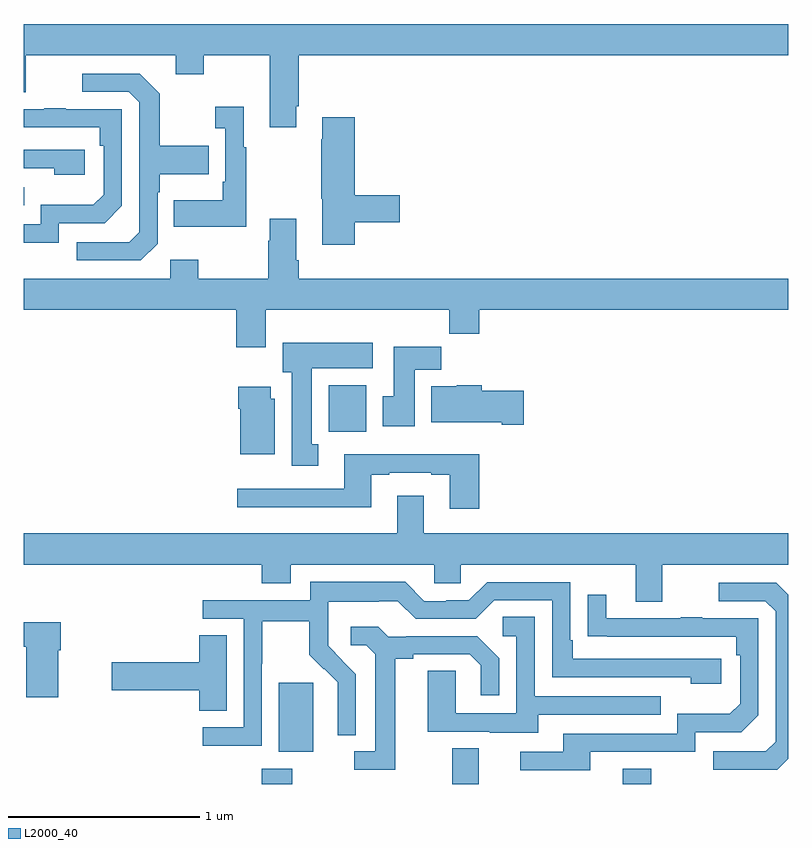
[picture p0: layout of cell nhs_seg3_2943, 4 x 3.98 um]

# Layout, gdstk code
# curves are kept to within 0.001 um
import gdstk
lib = gdstk.Library(unit=1e-6, precision=1e-09)
def R(c, l, rs):  # rectangles x0, y0, x1, y1
    for r in rs: c.add(gdstk.rectangle(r[:2], r[2:], *l))
def P(c, l, *ps):  # polygons
    for p in ps: c.add(gdstk.Polygon(p, *l))
L2000_40 = (2000, 40)

nhs_seg3_2943 = lib.new_cell('nhs_seg3_2943')
R(nhs_seg3_2943, L2000_40, [(264.245,734.4,264.405,734.479), (265.241,734.4,265.381,734.588), (266.135,734.4,266.283,734.479), (264.335,734.57,264.514,734.931), (264.596,736.244,264.793,736.486), (263,737.427,263.003,737.523)])
P(nhs_seg3_2943, L2000_40, [(264.427,737.947),(264.44,737.947),(264.44,738.212),(267,738.212),(267,738.376),(263,738.376),(263,738.018),(263.011,738.018),(263.011,738.212),(263.795,738.212),(263.795,738.113),(263.943,738.113),(263.943,738.212),(264.287,738.212),(264.287,737.835),(264.427,737.835)],
  [(263.7,737.226),(263.7,737.495),(263.713,737.495),(263.713,737.591),(263.969,737.591),(263.969,737.739),(263.713,737.739),(263.713,738.011),(263.607,738.117),(263.307,738.117),(263.307,738.021),(263.55,738.021),(263.604,737.967),(263.604,737.286),(263.553,737.235),(263.277,737.235),(263.277,737.139),(263.613,737.139)],
  [(264.163,737.731),(264.151,737.731),(264.151,737.944),(264.003,737.944),(264.003,737.831),(264.054,737.831),(264.054,737.551),(264.042,737.551),(264.042,737.455),(263.785,737.455),(263.785,737.315),(264.163,737.315)],
  [(263.184,737.334),(263.424,737.334),(263.514,737.424),(263.514,737.931),(263.219,737.931),(263.219,737.936),(263.107,737.936),(263.107,737.931),(263,737.931),(263,737.835),(263.398,737.835),(263.398,737.738),(263.418,737.738),(263.418,737.484),(263.365,737.431),(263.088,737.431),(263.088,737.328),(263,737.328),(263,737.232),(263.184,737.232)],
  [(264.731,737.338),(264.967,737.338),(264.967,737.48),(264.731,737.48),(264.731,737.887),(264.563,737.887),(264.563,737.774),(264.556,737.774),(264.556,737.463),(264.563,737.463),(264.563,737.22),(264.731,737.22)],
  [(263.32,737.718),(263,737.718),(263,737.622),(263.159,737.622),(263.159,737.588),(263.32,737.588)],
  [(264.265,736.88),(265.225,736.88),(265.225,736.756),(265.382,736.756),(265.382,736.88),(267,736.88),(267,737.044),(264.44,737.044),(264.44,737.14),(264.427,737.14),(264.427,737.356),(264.287,737.356),(264.287,737.243),(264.28,737.243),(264.28,737.044),(263.913,737.044),(263.913,737.143),(263.766,737.143),(263.766,737.044),(263,737.044),(263,736.88),(264.113,736.88),(264.113,736.686),(264.265,736.686)],
  [(264.541,736.178),(264.508,736.178),(264.508,736.574),(264.826,736.574),(264.826,736.708),(264.356,736.708),(264.356,736.554),(264.401,736.554),(264.401,736.065),(264.541,736.065)],
  [(265.045,736.568),(265.184,736.568),(265.184,736.687),(264.935,736.687),(264.935,736.428),(264.878,736.428),(264.878,736.272),(265.045,736.272)],
  [(265.615,736.458),(265.397,736.458),(265.397,736.486),(265.266,736.486),(265.266,736.48),(265.133,736.48),(265.133,736.292),(265.502,736.292),(265.502,736.28),(265.615,736.28)],
  [(264.313,736.416),(264.292,736.416),(264.292,736.477),(264.122,736.477),(264.122,736.364),(264.134,736.364),(264.134,736.124),(264.313,736.124)],
  [(265.382,736.126),(264.677,736.126),(264.677,735.945),(264.117,735.945),(264.117,735.848),(264.817,735.848),(264.817,736.017),(264.913,736.017),(264.913,736.029),(265.133,736.029),(265.133,736.017),(265.229,736.017),(265.229,735.84),(265.382,735.84)],
  [(266.341,735.548),(267,735.548),(267,735.712),(265.093,735.712),(265.093,735.907),(264.953,735.907),(264.953,735.712),(263,735.712),(263,735.548),(264.245,735.548),(264.245,735.449),(264.397,735.449),(264.397,735.548),(265.149,735.548),(265.149,735.45),(265.287,735.45),(265.287,735.548),(266.201,735.548),(266.201,735.354),(266.341,735.354)],
  [(264.246,735.028),(264.249,735.028),(264.249,735.252),(264.493,735.252),(264.493,735.077),(264.57,735),(264.573,735.003),(264.644,734.933),(264.644,734.81),(264.642,734.81),(264.642,734.656),(264.738,734.656),(264.738,734.974),(264.592,735.122),(264.592,735.219),(264.594,735.219),(264.594,735.353),(264.857,735.353),(264.857,735.357),(264.957,735.357),(265.05,735.264),(265.365,735.264),(265.461,735.36),(265.764,735.36),(265.764,734.958),(266.489,734.958),(266.489,734.924),(266.65,734.924),(266.65,735.054),(265.873,735.054),(265.873,735.151),(265.86,735.151),(265.86,735.456),(265.425,735.456),(265.329,735.36),(265.211,735.36),(265.211,735.357),(265.095,735.357),(264.995,735.457),(264.498,735.457),(264.498,735.36),(263.937,735.36),(263.937,735.264),(264.15,735.264),(264.15,734.697),(263.937,734.697),(263.937,734.599),(264.246,734.599)],
  [(267,734.532),(267,735.39),(266.937,735.453),(266.637,735.453),(266.637,735.357),(266.88,735.357),(266.934,735.303),(266.934,734.622),(266.883,734.571),(266.607,734.571),(266.607,734.475),(266.943,734.475)],
  [(265.963,734.568),(266.514,734.568),(266.514,734.67),(266.754,734.67),(266.844,734.76),(266.844,735.267),(266.549,735.267),(266.549,735.272),(266.437,735.272),(266.437,735.267),(266.047,735.267),(266.047,735.391),(265.951,735.391),(265.951,735.172),(266.728,735.171),(266.728,735.074),(266.748,735.074),(266.748,734.82),(266.695,734.767),(266.418,734.767),(266.418,734.664),(265.823,734.664),(265.823,734.568),(265.599,734.568),(265.599,734.472),(265.963,734.472)],
  [(265.693,734.763),(266.333,734.763),(266.333,734.859),(265.674,734.859),(265.674,735.275),(265.506,735.275),(265.506,735.174),(265.578,735.174),(265.578,734.769),(265.26,734.769),(265.26,734.993),(265.115,734.993),(265.115,734.673),(265.439,734.673),(265.439,734.669),(265.693,734.669)],
  [(263.182,735.101),(263.195,735.101),(263.195,735.247),(263,735.247),(263,735.118),(263.012,735.118),(263.012,734.853),(263.182,734.853)],
  [(264.943,735.056),(265.039,735.056),(265.039,735.078),(265.334,735.078),(265.391,735.021),(265.391,734.865),(265.488,734.865),(265.488,735.058),(265.372,735.174),(265,735.174),(265,735.171),(264.906,735.171),(264.854,735.223),(264.711,735.223),(264.711,735.126),(264.792,735.126),(264.839,735.079),(264.839,734.571),(264.729,734.571),(264.729,734.475),(264.943,734.475)],
  [(264.061,735.179),(263.918,735.179),(263.918,735.038),(263.46,735.038),(263.46,734.891),(263.918,734.891),(263.918,734.782),(264.061,734.782)])

lib.write_gds('nhs_seg3_2943.gds')
